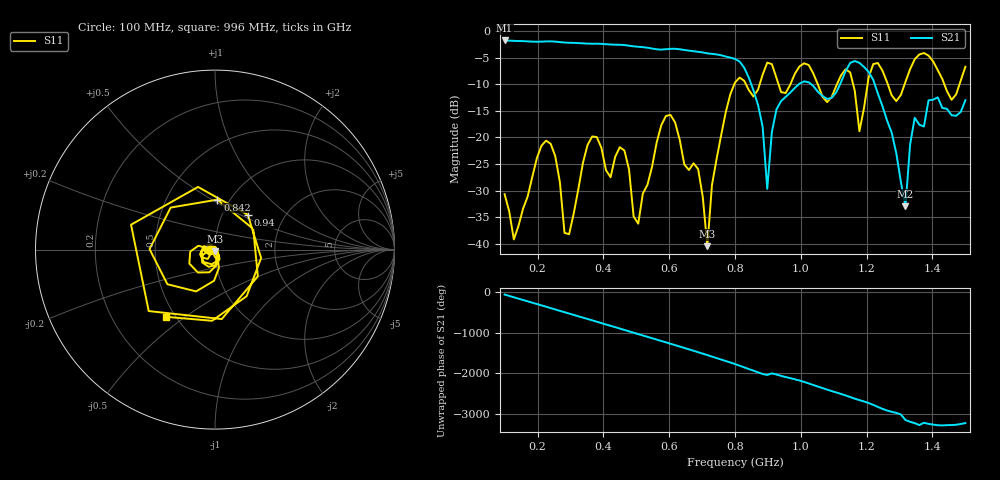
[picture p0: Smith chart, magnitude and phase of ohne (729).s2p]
! NanoVNA-App
! Date: 2025-09-25 14:26:28
! Start: 100MHz Stop: 1,5GHz Points: 101
! S-Parameter data: F S11 S21 S12 S22
# Hz S RI R 50
!  Frequency  S11_Real  S11_Imag  S21_Real  S21_Imag  S12_Real  S12_Imag  S22_Real  S22_Imag
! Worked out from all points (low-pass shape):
!   101 points, 100 MHz to 1.5 GHz, reference 50 ohm
!   highest |S21| = -1.79 dB at 100 MHz (marker M1); lowest = -32.9 dB at 1.318 GHz (marker M2)
!   |S21| within 3 dB of the highest: start of sweep to 771.1 MHz
!   lowest |S11| = -40.4 dB at 716 MHz (marker M3), VSWR 1.02, Z = 49.8 - j0.941 ohm
!   |S11| at or under -10 dB: start of sweep to 798 MHz; 833.2 MHz to 875.1 MHz (41.9 MHz wide, 4.91 % of centre); 1.051 GHz to 1.11 GHz (58.41 MHz wide, 5.41 % of centre) (the widest 3 of 7)
!   S12 and S22 are empty: the file has one direction only
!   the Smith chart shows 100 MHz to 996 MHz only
!   S11 on the Smith chart (normalised r, x): 100 MHz: 0.94, -0.01; 842 MHz: 0.88, +0.53; 940 MHz: 1.32, +0.55; 996 MHz: 0.44, -0.42
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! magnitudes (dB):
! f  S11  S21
! 100 MHz  -30.6  -1.8
! 128 MHz  -39.1  -1.9
! 226 MHz  -20.6  -2.0
! 296 MHz  -38.1  -2.2
! 338 MHz  -24.8  -2.3
! 464 MHz  -22.4  -2.7
! 506 MHz  -36.2  -3.0
! 576 MHz  -17.7  -3.5
! 688 MHz  -25.9  -3.9
! 716 MHz  -40.4  -4.2
! 800 MHz  -9.7  -5.3
! 842 MHz  -11.1  -8.8
! 898 MHz  -6.0  -29.6
! 940 MHz  -11.5  -13.2
! 996 MHz  -6.7  -9.9
! 1.038 GHz  -8.0  -10.3
! 1.178 GHz  -18.8  -6.0
! 1.22 GHz  -6.2  -9.2
! 1.276 GHz  -12.1  -19.1
! 1.318 GHz  -9.5  -32.9
! 1.346 GHz  -5.3  -16.3
! 1.5 GHz  -6.7  -13.0
